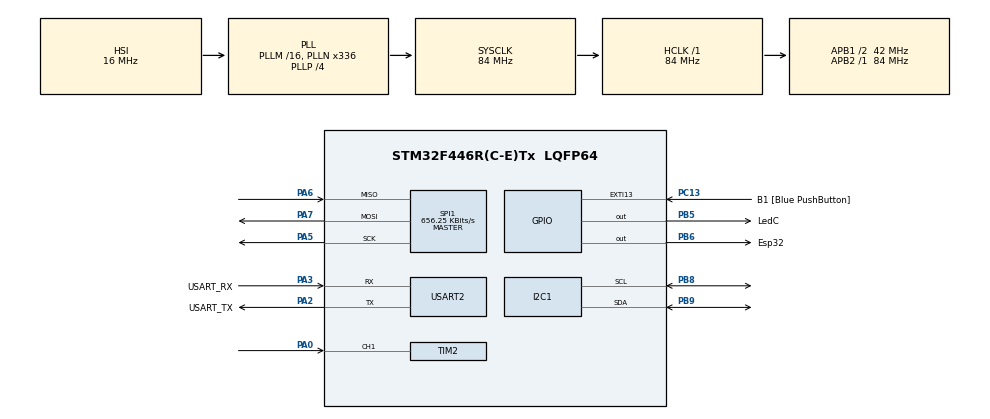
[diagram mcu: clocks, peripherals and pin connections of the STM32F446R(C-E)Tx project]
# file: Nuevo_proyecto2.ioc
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I2C1.I2C_Mode=I2C_Standard
Mcu.Family=STM32F4
Mcu.Name=STM32F446R(C-E)Tx
Mcu.Package=LQFP64
NVIC.PriorityGroup=NVIC_PRIORITYGROUP_0
NVIC.TIM2_IRQn=true\:0\:0\:false\:false\:true\:true\:true\:true
NVIC.USART2_IRQn=true\:0\:0\:false\:false\:true\:true\:true\:true
PA0-WKUP.Signal=S_TIM2_CH1_ETR
PA13.GPIO_Label=TMS
PA13.Signal=SYS_JTMS-SWDIO
PA14.GPIO_Label=TCK
PA14.Signal=SYS_JTCK-SWCLK
PA2.GPIO_Label=USART_TX
PA2.Mode=Asynchronous
PA2.Signal=USART2_TX
PA3.GPIO_Label=USART_RX
PA3.Mode=Asynchronous
PA3.Signal=USART2_RX
PA5.Mode=Full_Duplex_Master
PA5.Signal=SPI1_SCK
PA6.Mode=Full_Duplex_Master
PA6.Signal=SPI1_MISO
PA7.Mode=Full_Duplex_Master
PA7.Signal=SPI1_MOSI
PB3.GPIO_Label=SWO
PB3.Signal=SYS_JTDO-SWO
PB5.GPIO_Label=LedC
PB5.Signal=GPIO_Output
PB6.GPIO_Label=Esp32
PB6.PinState=GPIO_PIN_SET
PB6.Signal=GPIO_Output
PB8.Mode=I2C
PB8.Signal=I2C1_SCL
PB9.Mode=I2C
PB9.Signal=I2C1_SDA
PC13.GPIO_Label=B1 [Blue PushButton]
PC13.GPIO_ModeDefaultEXTI=GPIO_MODE_IT_FALLING
PC13.Signal=GPXTI13
PC14-OSC32_IN.Signal=RCC_OSC32_IN
PC15-OSC32_OUT.Signal=RCC_OSC32_OUT
PH0-OSC_IN.Signal=RCC_OSC_IN
PH1-OSC_OUT.Signal=RCC_OSC_OUT
ProjectManager.HeapSize=0x200
ProjectManager.StackSize=0x400
ProjectManager.TargetToolchain=STM32CubeIDE
RCC.AHBFreq_Value=84000000
RCC.APB1CLKDivider=RCC_HCLK_DIV2
RCC.APB1Freq_Value=42000000
RCC.APB1TimFreq_Value=84000000
RCC.APB2Freq_Value=84000000
RCC.APB2TimFreq_Value=84000000
RCC.CortexFreq_Value=84000000
RCC.FLatency-AdvancedSettings=FLASH_LATENCY_2
RCC.HCLKFreq_Value=84000000
RCC.HSE_VALUE=8000000
RCC.HSI_VALUE=16000000
RCC.LSE_VALUE=32768
RCC.PLLN=336
RCC.PLLP=RCC_PLLP_DIV4
RCC.SYSCLKFreq_VALUE=84000000
RCC.SYSCLKSource=RCC_SYSCLKSOURCE_PLLCLK
RCC.USBFreq_Value=168000000
RCC.VCOOutputFreq_Value=336000000
SH.S_TIM2_CH1_ETR.0=TIM2_CH1,Input_Capture1_from_TI1
SPI1.BaudRatePrescaler=SPI_BAUDRATEPRESCALER_128
SPI1.CalculateBaudRate=656.25 KBits/s
SPI1.Direction=SPI_DIRECTION_2LINES
SPI1.Mode=SPI_MODE_MASTER
SPI1.VirtualType=VM_MASTER
TIM2.Channel-Input_Capture1_from_TI1=TIM_CHANNEL_1
TIM2.Period=19999
TIM2.Prescaler=8399
USART2.VirtualMode=VM_ASYNC
VP_TIM2_VS_ClockSourceINT.Mode=Internal
board=NUCLEO-F446RE

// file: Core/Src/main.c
/* USER CODE BEGIN Header */
/**
  ******************************************************************************
  * @file           : main.c
  * @brief          : Main program body
  ******************************************************************************
  * @attention
  *
  * Copyright (c) 2026 STMicroelectronics.
  * All rights reserved.
  *
  * This software is licensed under terms that can be found in the LICENSE file
  * in the root directory of this software component.
  * If no LICENSE file comes with this software, it is provided AS-IS.
  *
  ******************************************************************************
  */
/* USER CODE END Header */
#include "main.h"

/* USER CODE BEGIN Includes */
#include <stdio.h>
#include <string.h>

/* USER CODE END Includes */

I2C_HandleTypeDef hi2c1;

SPI_HandleTypeDef hspi1;

TIM_HandleTypeDef htim2;

UART_HandleTypeDef huart2;

/* USER CODE BEGIN PV */
uint8_t TxData[4] = {0};
uint8_t RxData[4] = {0};
typedef enum{
	MENU_PRINCIPAL,
	RECIBIR_COMANDO_SPI,
	LED,
	ESPERA,
} estado;
volatile estado modo=MENU_PRINCIPAL;
uint8_t led=0;
uint16_t tiempo=0;
char comando[20];
uint8_t indice=0;

volatile uint8_t dato;
uint8_t MostrarMenu=1;
#define UART_RX_SIZE 64
volatile uint8_t rxBuffer[UART_RX_SIZE];
volatile uint8_t rxHead = 0;
volatile uint8_t rxTail = 0;

uint8_t datosI2C[4] = {0};

/* USER CODE END PV */

void SystemClock_Config(void);
static void MX_GPIO_Init(void);
static void MX_SPI1_Init(void);
static void MX_USART2_UART_Init(void);
static void MX_I2C1_Init(void);
static void MX_TIM2_Init(void);
/* USER CODE BEGIN PFP */
int LeerUART(uint8_t *caracter);
void ComandoSPI(char*comando);
void SolicitarMedicionI2C(void);
void ActualizarTimer(uint16_t tiempoMs);
/* USER CODE END PFP */

int main(void)
{

  /* MCU Configuration--------------------------------------------------------*/

  /* Reset of all peripherals, Initializes the Flash interface and the Systick. */
  HAL_Init();

  /* Configure the system clock */
  SystemClock_Config();

  /* Initialize all configured peripherals */
  MX_GPIO_Init();
  MX_SPI1_Init();
  MX_USART2_UART_Init();
  MX_I2C1_Init();
  MX_TIM2_Init();
  /* USER CODE BEGIN 2 */
  HAL_GPIO_WritePin(Esp32_GPIO_Port, Esp32_Pin, GPIO_PIN_SET);
  HAL_UART_Receive_IT(&huart2, (uint8_t*)&dato,1);

  /* USER CODE END 2 */

  /* Infinite loop */
  /* USER CODE BEGIN WHILE */
  while (1)
  {
	 if (modo==MENU_PRINCIPAL && MostrarMenu){
		 uint8_t TEST[]="\r\n===== MENU PRINCIPAL =====\r\n"
					 "1. Controlar dispositivo SPI\r\n"
					 "2. Obtener medicion sensor I2C\r\n"
					 "Seleccione una opcion: ";
		 HAL_UART_Transmit(&huart2,TEST, sizeof(TEST),1000);
		 MostrarMenu=0;
	 }
		 uint8_t caracter;
		 while (LeerUART(&caracter)){
			 switch(modo){

			 case MENU_PRINCIPAL:
				 if (caracter == '1'){
				 uint8_t TEST[]="\r\n===== CONTROL SPI =====\r\n"
							 "Ingrese Led y Tiempo (LED, TIEMPO):\r\n"
							 "EJEMPLO 1,500\r\n"
							 "Comando";
				 HAL_UART_Transmit(&huart2,TEST, sizeof(TEST),1000);
				 modo = RECIBIR_COMANDO_SPI;

				 }
				 else if (caracter=='2'){
					 SolicitarMedicionI2C();

					    modo = MENU_PRINCIPAL;
					    MostrarMenu = 1;
				 }
				 break;
			 case RECIBIR_COMANDO_SPI:
				 if (caracter == '\r' || caracter == '\n')
				                {
					if (indice > 0)
					{
						comando[indice] = '\0';

						ComandoSPI(comando);

						indice = 0;
						MostrarMenu=1;
						modo=MENU_PRINCIPAL;
						uint8_t TEST[] =
							"\r\nIngrese otro comando (LED,TIEMPO): ";

						HAL_UART_Transmit(&huart2, TEST, sizeof(TEST)-1, 1000);
					}
				}
				 	 else
				 	 	 {
				 		 if (indice < sizeof(comando)-1)
				 		 	 {
				 			 comando[indice] = caracter;
				 			 indice++;
				 		 	 }
				 		 else
				 		 {
				 			 indice = 0;

						uint8_t error[] =
							"\r\nComando demasiado largo\r\n";

						HAL_UART_Transmit(&huart2, error, sizeof(error)-1, 1000);
					}
				}

				        break;
			 case LED:
				 break;
			 case ESPERA:
				 break;

		 }
		 }

	 }

    /* USER CODE END WHILE */

  }

void SystemClock_Config(void)
{
  RCC_OscInitTypeDef RCC_OscInitStruct = {0};
  RCC_ClkInitTypeDef RCC_ClkInitStruct = {0};

  /** Configure the main internal regulator output voltage
  */
  __HAL_RCC_PWR_CLK_ENABLE();
  __HAL_PWR_VOLTAGESCALING_CONFIG(PWR_REGULATOR_VOLTAGE_SCALE3);

  /** Initializes the RCC Oscillators according to the specified parameters
  * in the RCC_OscInitTypeDef structure.
  */
  RCC_OscInitStruct.OscillatorType = RCC_OSCILLATORTYPE_HSI;
  RCC_OscInitStruct.HSIState = RCC_HSI_ON;
  RCC_OscInitStruct.HSICalibrationValue = RCC_HSICALIBRATION_DEFAULT;
  RCC_OscInitStruct.PLL.PLLState = RCC_PLL_ON;
  RCC_OscInitStruct.PLL.PLLSource = RCC_PLLSOURCE_HSI;
  RCC_OscInitStruct.PLL.PLLM = 16;
  RCC_OscInitStruct.PLL.PLLN = 336;
  RCC_OscInitStruct.PLL.PLLP = RCC_PLLP_DIV4;
  RCC_OscInitStruct.PLL.PLLQ = 2;
  RCC_OscInitStruct.PLL.PLLR = 2;
  if (HAL_RCC_OscConfig(&RCC_OscInitStruct) != HAL_OK)
  {
    Error_Handler();
  }

  /** Initializes the CPU, AHB and APB buses clocks
  */
  RCC_ClkInitStruct.ClockType = RCC_CLOCKTYPE_HCLK|RCC_CLOCKTYPE_SYSCLK
                              |RCC_CLOCKTYPE_PCLK1|RCC_CLOCKTYPE_PCLK2;
  RCC_ClkInitStruct.SYSCLKSource = RCC_SYSCLKSOURCE_PLLCLK;
  RCC_ClkInitStruct.AHBCLKDivider = RCC_SYSCLK_DIV1;
  RCC_ClkInitStruct.APB1CLKDivider = RCC_HCLK_DIV2;
  RCC_ClkInitStruct.APB2CLKDivider = RCC_HCLK_DIV1;

  if (HAL_RCC_ClockConfig(&RCC_ClkInitStruct, FLASH_LATENCY_2) != HAL_OK)
  {
    Error_Handler();
  }
}

static void MX_I2C1_Init(void)
{

  hi2c1.Instance = I2C1;
  hi2c1.Init.ClockSpeed = 100000;
  hi2c1.Init.DutyCycle = I2C_DUTYCYCLE_2;
  hi2c1.Init.OwnAddress1 = 0;
  hi2c1.Init.AddressingMode = I2C_ADDRESSINGMODE_7BIT;
  hi2c1.Init.DualAddressMode = I2C_DUALADDRESS_DISABLE;
  hi2c1.Init.OwnAddress2 = 0;
  hi2c1.Init.GeneralCallMode = I2C_GENERALCALL_DISABLE;
  hi2c1.Init.NoStretchMode = I2C_NOSTRETCH_DISABLE;
  if (HAL_I2C_Init(&hi2c1) != HAL_OK)
  {
    Error_Handler();
  }

}

static void MX_SPI1_Init(void)
{

  /* SPI1 parameter configuration*/
  hspi1.Instance = SPI1;
  hspi1.Init.Mode = SPI_MODE_MASTER;
  hspi1.Init.Direction = SPI_DIRECTION_2LINES;
  hspi1.Init.DataSize = SPI_DATASIZE_8BIT;
  hspi1.Init.CLKPolarity = SPI_POLARITY_LOW;
  hspi1.Init.CLKPhase = SPI_PHASE_1EDGE;
  hspi1.Init.NSS = SPI_NSS_SOFT;
  hspi1.Init.BaudRatePrescaler = SPI_BAUDRATEPRESCALER_128;
  hspi1.Init.FirstBit = SPI_FIRSTBIT_MSB;
  hspi1.Init.TIMode = SPI_TIMODE_DISABLE;
  hspi1.Init.CRCCalculation = SPI_CRCCALCULATION_DISABLE;
  hspi1.Init.CRCPolynomial = 10;
  if (HAL_SPI_Init(&hspi1) != HAL_OK)
  {
    Error_Handler();
  }

}

static void MX_TIM2_Init(void)
{

  TIM_ClockConfigTypeDef sClockSourceConfig = {0};
  TIM_MasterConfigTypeDef sMasterConfig = {0};
  TIM_IC_InitTypeDef sConfigIC = {0};

  htim2.Instance = TIM2;
  htim2.Init.Prescaler = 8399;
  htim2.Init.CounterMode = TIM_COUNTERMODE_UP;
  htim2.Init.Period = 19999;
  htim2.Init.ClockDivision = TIM_CLOCKDIVISION_DIV1;
  htim2.Init.AutoReloadPreload = TIM_AUTORELOAD_PRELOAD_DISABLE;
  if (HAL_TIM_Base_Init(&htim2) != HAL_OK)
  {
    Error_Handler();
  }
  sClockSourceConfig.ClockSource = TIM_CLOCKSOURCE_INTERNAL;
  if (HAL_TIM_ConfigClockSource(&htim2, &sClockSourceConfig) != HAL_OK)
  {
    Error_Handler();
  }
  if (HAL_TIM_IC_Init(&htim2) != HAL_OK)
  {
    Error_Handler();
  }
  sMasterConfig.MasterOutputTrigger = TIM_TRGO_RESET;
  sMasterConfig.MasterSlaveMode = TIM_MASTERSLAVEMODE_DISABLE;
  if (HAL_TIMEx_MasterConfigSynchronization(&htim2, &sMasterConfig) != HAL_OK)
  {
    Error_Handler();
  }
  sConfigIC.ICPolarity = TIM_INPUTCHANNELPOLARITY_RISING;
  sConfigIC.ICSelection = TIM_ICSELECTION_DIRECTTI;
  sConfigIC.ICPrescaler = TIM_ICPSC_DIV1;
  sConfigIC.ICFilter = 0;
  if (HAL_TIM_IC_ConfigChannel(&htim2, &sConfigIC, TIM_CHANNEL_1) != HAL_OK)
  {
    Error_Handler();
  }

}

static void MX_USART2_UART_Init(void)
{

  huart2.Instance = USART2;
  huart2.Init.BaudRate = 115200;
  huart2.Init.WordLength = UART_WORDLENGTH_8B;
  huart2.Init.StopBits = UART_STOPBITS_1;
  huart2.Init.Parity = UART_PARITY_NONE;
  huart2.Init.Mode = UART_MODE_TX_RX;
  huart2.Init.HwFlowCtl = UART_HWCONTROL_NONE;
  huart2.Init.OverSampling = UART_OVERSAMPLING_16;
  if (HAL_UART_Init(&huart2) != HAL_OK)
  {
    Error_Handler();
  }

}

static void MX_GPIO_Init(void)
{
  GPIO_InitTypeDef GPIO_InitStruct = {0};

  /* GPIO Ports Clock Enable */
  __HAL_RCC_GPIOC_CLK_ENABLE();
  __HAL_RCC_GPIOH_CLK_ENABLE();
  __HAL_RCC_GPIOA_CLK_ENABLE();
  __HAL_RCC_GPIOB_CLK_ENABLE();

  /*Configure GPIO pin Output Level */
  HAL_GPIO_WritePin(LedC_GPIO_Port, LedC_Pin, GPIO_PIN_RESET);

  /*Configure GPIO pin Output Level */
  HAL_GPIO_WritePin(Esp32_GPIO_Port, Esp32_Pin, GPIO_PIN_SET);

  /*Configure GPIO pin : B1_Pin */
  GPIO_InitStruct.Pin = B1_Pin;
  GPIO_InitStruct.Mode = GPIO_MODE_IT_FALLING;
  GPIO_InitStruct.Pull = GPIO_NOPULL;
  HAL_GPIO_Init(B1_GPIO_Port, &GPIO_InitStruct);

  /*Configure GPIO pins : LedC_Pin Esp32_Pin */
  GPIO_InitStruct.Pin = LedC_Pin|Esp32_Pin;
  GPIO_InitStruct.Mode = GPIO_MODE_OUTPUT_PP;
  GPIO_InitStruct.Pull = GPIO_NOPULL;
  GPIO_InitStruct.Speed = GPIO_SPEED_FREQ_LOW;
  HAL_GPIO_Init(GPIOB, &GPIO_InitStruct);

}

/* USER CODE BEGIN 4 */
int LeerUART(uint8_t *caracter)
{
    if (rxTail == rxHead)
    {
        return 0;
    }

    *caracter = rxBuffer[rxTail];

    rxTail = (rxTail + 1) % UART_RX_SIZE;

    return 1;
}

void HAL_UART_RxCpltCallback(UART_HandleTypeDef *huart)
{
    if (huart->Instance == USART2)
    {
        uint8_t siguiente =
            (rxHead + 1) % UART_RX_SIZE;

        if (siguiente != rxTail)
        {
            rxBuffer[rxHead] = dato;
            rxHead = siguiente;
        }

        // Volver a habilitar la recepcion
        HAL_UART_Receive_IT( &huart2,(uint8_t *)&dato,1);
    }
}
void ComandoSPI(char *comando)
{
    unsigned int ledTemp;
    unsigned int tiempoTemp;
    char extra;
    char mensaje[100];

    if (sscanf(comando, " %u , %u %c",
               &ledTemp, &tiempoTemp, &extra) != 2)
    {
        uint8_t error[] = "\r\nComando invalido\r\n";

        HAL_UART_Transmit(&huart2, error,
                          sizeof(error)-1, 1000);
        return;
    }

    if (ledTemp < 1 || ledTemp > 4 ||
        tiempoTemp < 1 || tiempoTemp > 60000)
    {
        uint8_t error[] = "\r\nLED o tiempo invalido\r\n";

        HAL_UART_Transmit(&huart2, error,
                          sizeof(error)-1, 1000);
        return;
    }

    // Guardar los valores recibidos
    led = (uint8_t)ledTemp;
    tiempo = (uint16_t)tiempoTemp;

    // Preparar trama SPI de 4 bytes
    TxData[0] = 0xAA;
    TxData[1] = led;
    TxData[2] = (tiempo >> 8) & 0xFF;
    TxData[3] = tiempo & 0xFF;

    // Mostrar los datos antes de transmitir
    snprintf(mensaje, sizeof(mensaje),
             "\r\nSPI TX: %u, %u, %u, %u\r\n",
             TxData[0], TxData[1],
             TxData[2], TxData[3]);

    HAL_UART_Transmit(&huart2, (uint8_t*)mensaje,
                      strlen(mensaje), 1000);

    // Activar esclavo
    HAL_GPIO_WritePin(Esp32_GPIO_Port,
                      Esp32_Pin, GPIO_PIN_RESET);

    // Transmitir los 4 bytes
    HAL_StatusTypeDef resultado =
        HAL_SPI_TransmitReceive(&hspi1,
                                TxData,
                                RxData,
                                4,
                                1000);

    // Desactivar esclavo
    HAL_GPIO_WritePin(Esp32_GPIO_Port,
                      Esp32_Pin, GPIO_PIN_SET);

    if (resultado == HAL_OK)
    {
        snprintf(mensaje, sizeof(mensaje),
                 "SPI enviado: LED %u, Tiempo %u ms\r\n",
                 led, tiempo);
        ActualizarTimer(tiempo);
        HAL_UART_Transmit(&huart2, (uint8_t*)mensaje,
                          strlen(mensaje), 1000);
    }
    else
    {
        uint8_t error[] = "\r\nError al transmitir SPI\r\n";

        HAL_UART_Transmit(&huart2, error,
                          sizeof(error)-1, 1000);
    }
}
void SolicitarMedicionI2C(void)
{
    uint8_t comando = 0x01;
    uint8_t datoViejo[4] = {0};
    char mensaje[100];

    // Solicitar nueva medicion al ESP32
    if (HAL_I2C_Master_Transmit(&hi2c1, 0x28 << 1,
                                &comando, 1, 100) != HAL_OK)
    {
        uint8_t error[] = "\r\nError solicitando I2C\r\n";

        HAL_UART_Transmit(&huart2, error,
                          sizeof(error)-1, 1000);
        return;
    }

    // Primera lectura: descartar respuesta anterior
    if (HAL_I2C_Master_Receive(&hi2c1, 0x28 << 1,
                               datoViejo, 4, 100) != HAL_OK)
    {
        uint8_t error[] = "\r\nError primera lectura I2C\r\n";

        HAL_UART_Transmit(&huart2, error,
                          sizeof(error)-1, 1000);
        return;
    }

    // Esperar a que el ESP32 actualice la medicion
    for (int intento = 0; intento < 10; intento++)
    {
        HAL_Delay(20);

        // Recibir la medicion actualizada
        if (HAL_I2C_Master_Receive(&hi2c1, 0x28 << 1,
                                   datosI2C, 4, 100) != HAL_OK)
        {
            uint8_t error[] = "\r\nError recibiendo I2C\r\n";

            HAL_UART_Transmit(&huart2, error,
                              sizeof(error)-1, 1000);
            return;
        }

        // Verificar que la medicion este lista
        if (datosI2C[0] == 1)
        {
            uint8_t lectura = datosI2C[1];

            uint16_t mv =
                ((uint16_t)datosI2C[2] << 8) |
                datosI2C[3];

            snprintf(mensaje, sizeof(mensaje),
                     "\r\n===== MEDICION I2C =====\r\n"
                     "Valor ADC (0-255): %u\r\n"
                     "Voltaje estimado: %u mV\r\n",
                     lectura, mv);

            HAL_UART_Transmit(&huart2,
                              (uint8_t*)mensaje,
                              strlen(mensaje),
                              1000);

            return;
        }
    }

    uint8_t error[] = "\r\nTiempo de espera I2C agotado\r\n";

    HAL_UART_Transmit(&huart2, error,
                      sizeof(error)-1, 1000);
}
void ActualizarTimer(uint16_t tiempoMs)
{
    if (tiempoMs == 0 || tiempoMs > 60000)
    {
        return;
    }

    // Detener el timer anterior
    HAL_TIM_Base_Stop_IT(&htim2);

    // Calcular periodo
    uint32_t ticks = (uint32_t)tiempoMs * 10U;

    // Actualizar el timer
    __HAL_TIM_SET_AUTORELOAD(&htim2, ticks - 1U);

    // Reiniciar contador
    __HAL_TIM_SET_COUNTER(&htim2, 0);

    // Limpiar interrupcion pendiente
    __HAL_TIM_CLEAR_FLAG(&htim2, TIM_FLAG_UPDATE);

    // Comenzar con salida en HIGH
    HAL_GPIO_WritePin(LedC_GPIO_Port,
                      LedC_Pin,
                      GPIO_PIN_SET);

    // Iniciar timer con interrupciones
    HAL_TIM_Base_Start_IT(&htim2);
}
void HAL_TIM_PeriodElapsedCallback(TIM_HandleTypeDef *htim)
{
    if (htim->Instance == TIM2)
    {
        HAL_GPIO_TogglePin(LedC_GPIO_Port,
                           LedC_Pin);
    }
}
/* USER CODE END 4 */

void Error_Handler(void)
{
  __disable_irq();
  while (1)
  {
  }
}
